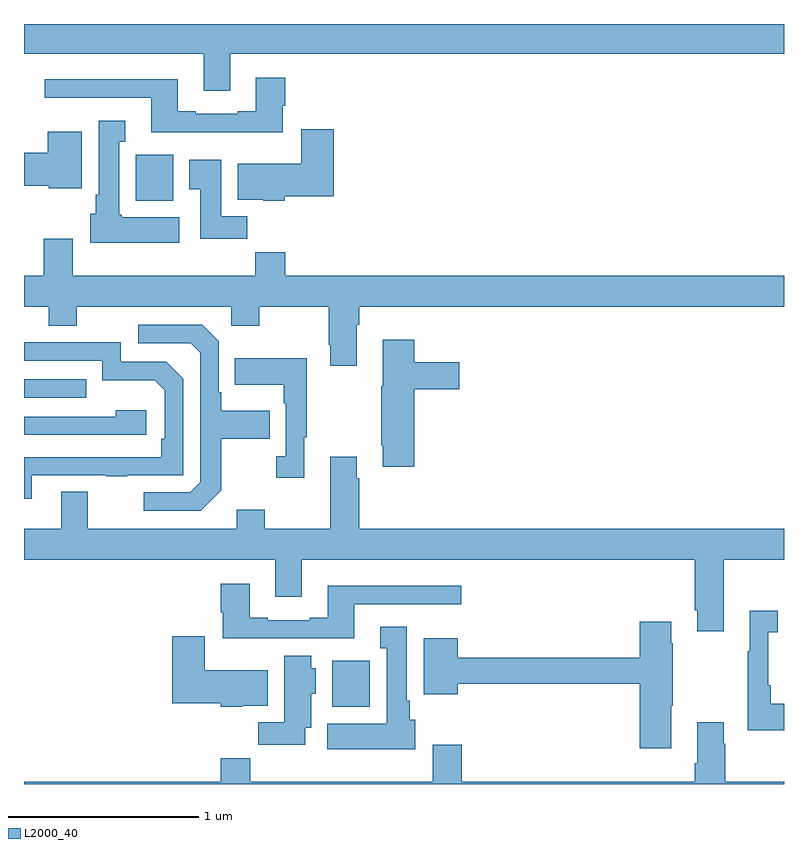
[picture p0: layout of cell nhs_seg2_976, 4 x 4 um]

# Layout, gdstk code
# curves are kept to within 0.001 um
import gdstk
lib = gdstk.Library(unit=1e-6, precision=1e-09)
def R(c, l, rs):  # rectangles x0, y0, x1, y1
    for r in rs: c.add(gdstk.rectangle(r[:2], r[2:], *l))
def P(c, l, *ps):  # polygons
    for p in ps: c.add(gdstk.Polygon(p, *l))
L2000_40 = (2000, 40)

nhs_seg2_976 = lib.new_cell('nhs_seg2_976')
R(nhs_seg2_976, L2000_40, [(162.623,636.206,162.82,636.448), (161,637.833,161.327,637.929), (161.588,638.87,161.785,639.112)])
P(nhs_seg2_976, L2000_40, [(162.085,639.644),(165,639.644),(165,639.8),(161,639.8),(161,639.644),(161.945,639.644),(161.945,639.45),(162.085,639.45)],
  [(162.361,639.369),(162.374,639.369),(162.374,639.517),(162.221,639.517),(162.221,639.34),(162.125,639.34),(162.125,639.327),(161.905,639.327),(161.905,639.34),(161.809,639.34),(161.809,639.508),(161.109,639.508),(161.109,639.411),(161.669,639.411),(161.669,639.23),(162.361,639.23)],
  [(161.818,638.782),(161.514,638.782),(161.514,638.796),(161.5,638.796),(161.5,639.179),(161.533,639.179),(161.533,639.292),(161.393,639.292),(161.393,638.902),(161.378,638.902),(161.378,638.802),(161.348,638.802),(161.348,638.648),(161.818,638.648)],
  [(162.372,638.894),(162.629,638.894),(162.629,639.247),(162.458,639.247),(162.458,639.064),(162.125,639.064),(162.125,638.876),(162.258,638.876),(162.258,638.87),(162.372,638.87)],
  [(161.305,639.232),(161.126,639.232),(161.126,639.122),(161,639.122),(161,638.95),(161.13,638.95),(161.13,638.936),(161.305,638.936)],
  [(162.176,638.788),(162.037,638.788),(162.037,639.085),(161.87,639.085),(161.87,638.929),(161.927,638.929),(161.927,638.67),(162.176,638.67)],
  [(162.751,638.216),(162.764,638.216),(162.764,638.312),(165,638.312),(165,638.476),(162.374,638.476),(162.374,638.6),(162.217,638.6),(162.217,638.476),(161.257,638.476),(161.257,638.671),(161.105,638.671),(161.105,638.476),(161,638.476),(161,638.312),(161.129,638.312),(161.129,638.213),(161.277,638.213),(161.277,638.312),(162.09,638.312),(162.09,638.213),(162.237,638.213),(162.237,638.312),(162.604,638.312),(162.604,638.113),(162.611,638.113),(162.611,638.001),(162.751,638.001)],
  [(162.037,637.345),(162.037,637.618),(162.293,637.618),(162.293,637.765),(162.037,637.765),(162.037,637.861),(162.024,637.861),(162.024,638.13),(161.937,638.217),(161.601,638.217),(161.601,638.121),(161.877,638.121),(161.928,638.07),(161.928,637.389),(161.874,637.335),(161.631,637.335),(161.631,637.239),(161.931,637.239)],
  [(163.055,637.877),(163.291,637.877),(163.291,638.019),(163.055,638.019),(163.055,638.137),(162.887,638.137),(162.887,637.893),(162.88,637.893),(162.88,637.582),(162.887,637.582),(162.887,637.47),(163.055,637.47)],
  [(161.041,637.425),(161.431,637.425),(161.431,637.42),(161.543,637.42),(161.543,637.425),(161.838,637.425),(161.838,637.932),(161.748,638.022),(161.508,638.022),(161.508,638.124),(161,638.124),(161,638.028),(161.412,638.028),(161.412,637.925),(161.689,637.925),(161.742,637.872),(161.742,637.618),(161.722,637.618),(161.722,637.521),(161,637.52),(161,637.302),(161.041,637.302)],
  [(162.475,637.625),(162.487,637.625),(162.487,638.041),(162.109,638.041),(162.109,637.901),(162.366,637.901),(162.366,637.805),(162.378,637.805),(162.378,637.526),(162.327,637.526),(162.327,637.413),(162.475,637.413)],
  [(161.644,637.768),(161.483,637.768),(161.483,637.734),(161,637.734),(161,637.638),(161.644,637.638)],
  [(164.683,636.98),(165,636.98),(165,637.144),(162.764,637.144),(162.764,637.409),(162.751,637.409),(162.751,637.522),(162.611,637.522),(162.611,637.144),(162.267,637.144),(162.267,637.243),(162.119,637.243),(162.119,637.144),(161.335,637.144),(161.335,637.339),(161.195,637.339),(161.195,637.144),(161,637.144),(161,636.98),(162.323,636.98),(162.323,636.786),(162.463,636.786),(162.463,636.98),(164.531,636.98),(164.531,636.715),(164.543,636.715),(164.543,636.603),(164.683,636.603)],
  [(162.279,636.567),(162.739,636.567),(162.739,636.747),(163.3,636.747),(163.3,636.844),(162.599,636.844),(162.599,636.676),(162.503,636.676),(162.503,636.663),(162.283,636.663),(162.283,636.676),(162.187,636.676),(162.187,636.853),(162.035,636.853),(162.035,636.705),(162.047,636.705),(162.047,636.566),(162.279,636.566)],
  [(165,636.223),(164.929,636.223),(164.929,636.319),(164.916,636.319),(164.916,636.599),(164.968,636.599),(164.968,636.712),(164.819,636.712),(164.819,636.499),(164.808,636.499),(164.808,636.083),(165,636.083)],
  [(164.407,636.211),(164.415,636.211),(164.415,636.542),(164.407,636.542),(164.407,636.655),(164.24,636.655),(164.24,636.464),(163.282,636.464),(163.282,636.568),(163.103,636.568),(163.103,636.272),(163.282,636.272),(163.282,636.328),(164.24,636.328),(164.24,635.988),(164.407,635.988)],
  [(163.06,636.138),(163.03,636.138),(163.03,636.238),(163.015,636.238),(163.015,636.628),(162.875,636.628),(162.875,636.515),(162.908,636.515),(162.908,636.118),(162.596,636.118),(162.596,635.984),(163.06,635.984)],
  [(162.15,636.212),(162.283,636.212),(162.283,636.4),(161.95,636.4),(161.95,636.577),(161.78,636.577),(161.78,636.224),(162.036,636.224),(162.036,636.206),(162.15,636.206)],
  [(162.481,636.095),(162.511,636.095),(162.511,636.276),(162.535,636.276),(162.535,636.408),(162.511,636.408),(162.511,636.475),(162.371,636.475),(162.371,636.124),(162.232,636.124),(162.232,636.006),(162.481,636.006)],
  [(165,635.812),(164.691,635.812),(164.691,636.011),(164.683,636.011),(164.683,636.124),(164.543,636.124),(164.543,635.908),(164.531,635.908),(164.531,635.812),(163.304,635.812),(163.304,636.007),(163.151,636.007),(163.151,635.812),(162.191,635.812),(162.191,635.936),(162.035,635.936),(162.035,635.812),(161,635.812),(161,635.8),(165,635.8)])

lib.write_gds('nhs_seg2_976.gds')
